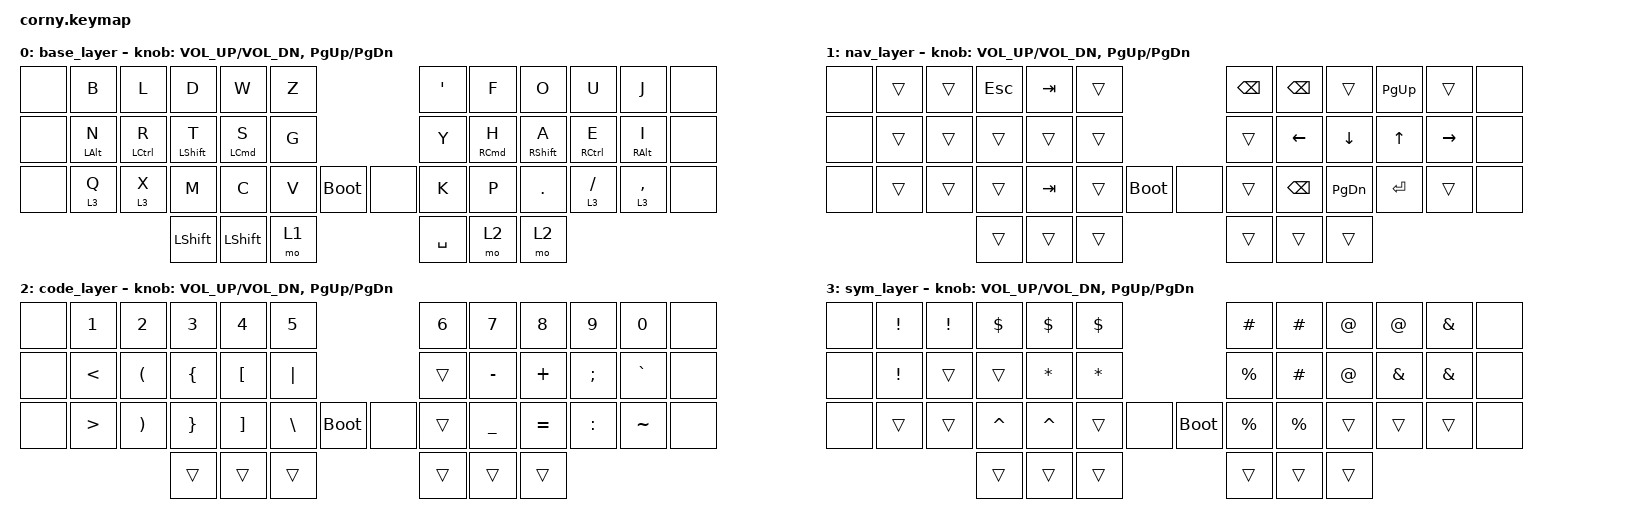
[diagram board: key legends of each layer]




#include <behaviors.dtsi>
#include <dt-bindings/zmk/keys.h>
#include <dt-bindings/zmk/bt.h>

/ {

        behaviors {
                // Home row modifiers
                hrm: home_row_mod {
                        compatible = "zmk,behavior-hold-tap";
                        label = "HOME_ROW_MOD";
                        #binding-cells = <2>;
                        tapping-term-ms = <280>;
                        quick-tap-ms = <175>;
                        require-prior-idle-ms = <150>;
                        flavor = "balanced";
                        bindings = <&kp>, <&kp>;
                };
                // Layer tap toggle: key press on tap. layer switch while held.
                ltt: layer_tap_toggle {
                        compatible = "zmk,behavior-hold-tap";
                        label = "Tap for KC_A, Hold for Layer 1";
                        #binding-cells = <2>;
                        tapping-term-ms = <280>;
                        quick-tap-ms = <175>;
                        require-prior-idle-ms = <150>;
                        flavor = "balanced";
                        bindings = <&mo>, <&kp>;
                };

        };

        keymap {
                compatible = "zmk,keymap";

                base_layer {
// -------------------------------------------------------------------------------------------------
// |    |  B  |  L  |  D  |  W  |  Z  |                    |  '  |  F   |  O  |  U  |  J  |    |
// |    |  N* |  R* |  T* |  S* |  G  |                    |  Y  |  H*  |  A* |  E* |  I* |    |     
// |    |  Q* |  X* |  M  |  C  |  V  |        |  |        |  K  |  P   |  .  |  /* |  ,* |    |
//                  | SHF | SHT | NAV |                    | SPC | CDE  | CDE |

// N R T S are home row modifiers N to option, R to control, T to shift, S to command
// H A E I are home row modifiers H to command, A to shift, E to control, I to option
// Q X / , are layer tap toggle to sym layer 3
// NAV is momentary toggle to nav layer 1
// CDE is momentary toggle to cde layer 2
// SHF is shift
// blanks are none


                        bindings = <
   &none   &kp B         &kp L         &kp D         &kp W         &kp Z                               &kp SQT       &kp F         &kp O         &kp U         &kp J         &none
   &none   &hrm LALT N   &hrm LCTRL R  &hrm LSHFT T  &hrm LCMD S   &kp G                               &kp Y         &hrm RCMD H   &hrm RSHFT A  &hrm RCTRL E  &hrm RALT I   &none
   &none   &ltt 3 Q      &ltt 3 X      &kp M         &kp C         &kp V   &bootloader    &none        &kp K         &kp P         &kp DOT       &ltt 3 FSLH   &ltt 3 COMMA  &none
                                       &kp LSHFT     &kp LSHFT     &mo 1                               &kp SPACE     &mo 2         &mo 2
                        >;

                        sensor-bindings = <&inc_dec_kp C_VOL_UP C_VOL_DN &inc_dec_kp PG_UP PG_DN>;
                };

                nav_layer {
// -------------------------------------------------------------------------------------------------
// |    |     |     | Esc | Tab |     |                    | DEL |  DEL |     | PgUp|     |    |
// |    |     |     |     |     |     |                    |     |  <-  | v|  | |^  | ->  |    |     
// |    |     |     |     | Tab |     |        |  |        |     |  DEL | PgDn| Ent |     |    |
//                  |     |     |     |                    |     |      |     |

                        bindings = <
   &none   &trans         &trans         &kp ESC      &kp TAB        &trans                               &kp BSPC       &kp BSPC       &trans         &kp PG_UP       &trans         &none
   &none   &trans         &trans         &trans       &trans         &trans                               &trans         &kp LEFT       &kp DOWN       &kp UP          &kp RIGHT      &none
   &none   &trans         &trans         &trans       &kp TAB        &trans &bootloader    &none          &trans         &kp BSPC       &kp PG_DN      &kp RET         &trans         &none
                                         &trans       &trans         &trans                               &trans         &trans         &trans
                        >;

                        sensor-bindings = <&inc_dec_kp C_VOL_UP C_VOL_DN &inc_dec_kp PG_UP PG_DN>;
                };

                code_layer {
// -------------------------------------------------------------------------------------------------
// |    |  1  |  2  |  3  |  4  |  5  |                    |  6  |   7  |  8  |  9  |  0  |    |
// |    |  <  |  (  |  {  |  [  |  |  |                    |     |   -  |  +  |  ;  |  `  |    |     
// |    |  >  |  )  |  }  |  ]  |  \  |        |  |        |     |   _  |  =  |  :  |     |    |
//                  |     |     |     |                    |     |      |     |

                        bindings = <
   &none   &kp N1           &kp N2            &kp N3          &kp N4            &kp N5                                  &kp N6         &kp N7            &kp N8            &kp N9            &kp N0            &none
   &none   &kp LT           &kp LPAR          &kp LBRC        &kp LBKT          &kp PIPE                                &trans         &kp MINUS         &kp PLUS          &kp SEMI          &kp GRAVE         &none
   &none   &kp GT           &kp RPAR          &kp RBRC        &kp RBKT          &kp BSLH  &bootloader    &none          &trans         &kp UNDER         &kp EQUAL         &kp COLON         &kp TILDE         &none
                                        &trans       &trans         &trans                               &trans         &trans         &trans
                        >;

                        sensor-bindings = <&inc_dec_kp C_VOL_UP C_VOL_DN &inc_dec_kp PG_UP PG_DN>;
                };

                sym_layer {
// -------------------------------------------------------------------------------------------------
// |    |  !  |  !  |  $  |  $  |  $  |                    |  #  |   #  |  @  |  @  |  &  |    |
// |    |  !  |     |     |  *  |  *  |                    |  %  |   #  |  @  |  &  |  &  |    |     
// |    |     |     |  ^  |  ^  |     |        |  |        |  %  |   %  |     |     |     |    |
//                  |     |     |     |                    |     |      |     |

                        bindings = <
   &none   &kp EXCL          &kp EXCL           &kp DLLR        &kp DLLR          &kp DLLR                                &kp HASH          &kp HASH          &kp AT            &kp AT            &kp AMPS         &none
   &none   &kp EXCL          &trans             &trans          &kp STAR          &kp STAR                                &kp PRCNT         &kp HASH          &kp AT            &kp AMPS          &kp AMPS         &none
   &none   &trans            &trans             &kp CARET       &kp CARET         &trans   &none    &bootloader           &kp PRCNT         &kp PRCNT         &trans            &trans            &trans           &none
                                          &trans       &trans         &trans                               &trans         &trans         &trans
                        >;

                        sensor-bindings = <&inc_dec_kp C_VOL_UP C_VOL_DN &inc_dec_kp PG_UP PG_DN>;
                };
        };
        
};
